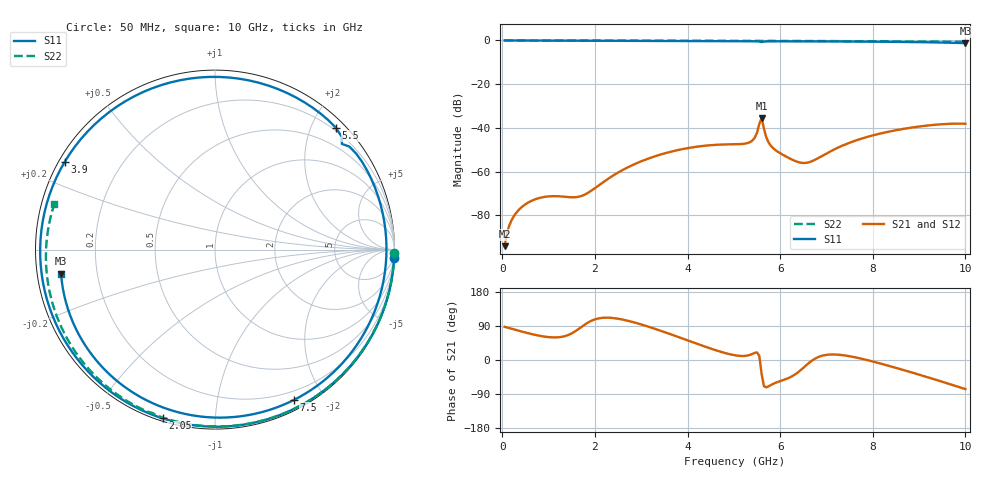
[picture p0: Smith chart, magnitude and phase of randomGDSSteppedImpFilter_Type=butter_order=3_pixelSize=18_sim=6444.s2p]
! freq	dB(S11)	phase(S11)	dB(S12)	phase(S12)
!  dB(S21)	phase(S21)	dB(S22)	phase(S22)
!S-par simulation data
#  GHz  S  DB  R 50
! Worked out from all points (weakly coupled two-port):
!   200 points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, 50 MHz to 10 GHz, reference 50 ohm
!   highest |S21| = -35.45 dB at 5.6 GHz (marker M1); lowest = -94.2 dB at 50 MHz (marker M2)
!   lowest |S11| = -1.2 dB at 10 GHz (marker M3), VSWR 14.16, Z = 3.55 - j3.86 ohm
!   |S11| at or under -10 dB: nowhere
!   |S22| runs from -0.6 to 0.0 dB; largest |S21 - S12| = 0
!   S11 on the Smith chart (normalised r, x): 50 MHz: 1, -42; 2.05 GHz: 0.01, -0.74; 3.9 GHz: 0.02, +0.27; 5.5 GHz: 0.15, +2.39; 7.5 GHz: 0.10, -1.65; 10 GHz: 0.07, -0.08
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0.05  -0.01 -2.7  -94.19 87.5  -94.19 87.5  -0.00 -1.1
0.25  -0.02 -13.3  -80.45 80.8  -80.45 80.8  -0.01 -5.4
0.6  -0.04 -31.8  -73.75 69.4  -73.75 69.4  -0.01 -12.8
1  -0.06 -52.7  -71.39 60.4  -71.39 60.4  -0.03 -21.3
1.75  -0.12 -91.7  -70.87 90.8  -70.87 90.8  -0.05 -36.9
2.05  -0.14 -107.3  -66.85 108.9  -66.85 108.9  -0.05 -43.1
2.8  -0.18 -147.1  -57.18 100.8  -57.18 100.8  -0.07 -58.2
3.4  -0.23 179.4  -52.35 78.0  -52.35 78.0  -0.09 -70.0
3.9  -0.27 149.6  -49.71 56.3  -49.71 56.3  -0.11 -79.6
4.5  -0.31 111.6  -47.95 30.2  -47.95 30.2  -0.13 -90.8
5.05  -0.34 75.3  -47.51 11.9  -47.51 11.9  -0.16 -101.0
5.35  -0.36 55.4  -46.54 13.6  -46.54 13.6  -0.17 -106.5
5.5  -0.39 45.2  -42.29 19.9  -42.29 19.9  -0.18 -109.3
5.6  -0.72 39.8  -35.45 -37.0  -35.45 -37.0  -0.23 -111.0
5.7  -0.43 34.1  -44.31 -72.2  -44.31 -72.2  -0.20 -112.7
5.85  -0.39 24.5  -49.34 -62.9  -49.34 -62.9  -0.20 -115.5
6.4  -0.40 -7.8  -55.75 -31.1  -55.75 -31.1  -0.23 -125.4
6.7  -0.41 -24.0  -55.16 -0.6  -55.16 -0.6  -0.26 -130.8
7.5  -0.48 -62.3  -46.83 9.9  -46.83 9.9  -0.32 -145.4
8.35  -0.61 -98.0  -41.73 -15.5  -41.73 -15.5  -0.41 -161.5
9.2  -0.84 -132.8  -38.90 -46.1  -38.90 -46.1  -0.52 -178.5
10  -1.23 -171.1  -38.14 -76.9  -38.14 -76.9  -0.63 164.1
